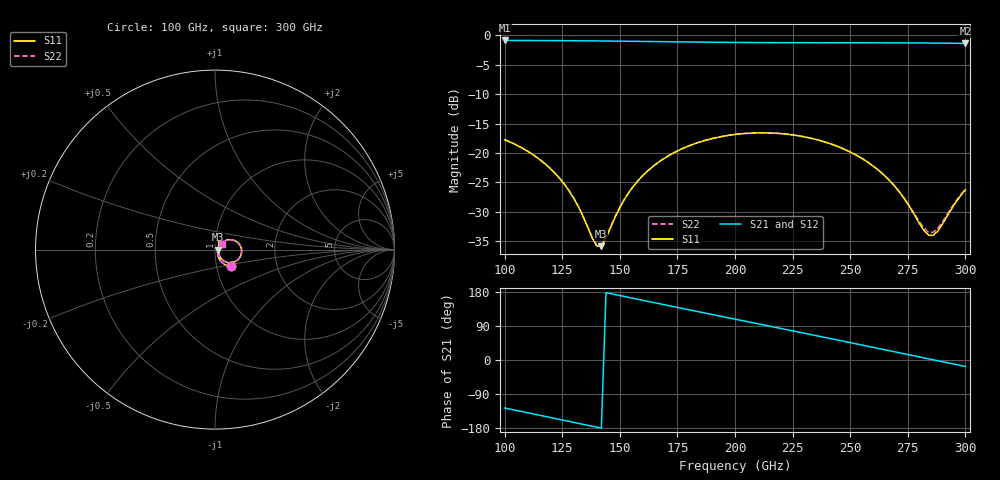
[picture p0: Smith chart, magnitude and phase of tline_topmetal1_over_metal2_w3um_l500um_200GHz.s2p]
#  GHZ S DB R 50
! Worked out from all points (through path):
!   101 points, 100 GHz to 300 GHz, reference 50 ohm
!   highest |S21| = -0.85 dB at 100 GHz (marker M1); lowest = -1.3 dB at 300 GHz (marker M2)
!   group delay of S21, straight-line fit = 3.47 ps
!   lowest |S11| = -35.8 dB at 142 GHz (marker M3), VSWR 1.03, Z = 51.6 + j0.022 ohm
!   |S11| at or under -10 dB: start of sweep to end of sweep
!   |S22| runs from -35.5 to -16.5 dB; largest |S21 - S12| = 1e-14
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100  -17.73 -45.9  -0.85 -126.7  -0.85 -126.7  -17.73 -46.0
110  -19.69 -55.5  -0.85 -139.3  -0.85 -139.3  -19.69 -55.5
120  -22.69 -63.3  -0.87 -151.9  -0.87 -151.9  -22.69 -63.2
128  -26.43 -65.7  -0.89 -162.1  -0.89 -162.1  -26.42 -65.3
134  -30.75 -59.0  -0.90 -169.7  -0.90 -169.7  -30.68 -58.3
140  -35.82 -21.6  -0.92 -177.3  -0.92 -177.3  -35.53 -21.1
142  -35.84 0.8  -0.93 -179.8  -0.93 -179.8  -35.53 0.4
150  -29.28 42.1  -0.96 170.1  -0.96 170.1  -29.18 41.0
154  -26.68 44.9  -0.98 165.1  -0.98 165.1  -26.61 43.9
160  -23.83 43.7  -1.01 157.5  -1.01 157.5  -23.79 42.8
168  -21.24 38.3  -1.05 147.5  -1.05 147.5  -21.21 37.5
184  -18.22 23.2  -1.12 127.6  -1.12 127.6  -18.20 22.6
200  -16.84 6.6  -1.18 107.8  -1.18 107.8  -16.83 6.0
216  -16.60 -10.4  -1.22 88.1  -1.22 88.1  -16.58 -10.9
234  -17.58 -29.2  -1.23 65.8  -1.23 65.8  -17.56 -29.7
254  -20.66 -48.2  -1.24 40.8  -1.24 40.8  -20.64 -48.4
268  -25.06 -55.9  -1.26 23.3  -1.26 23.3  -25.01 -55.7
282  -33.17 -28.8  -1.28 5.7  -1.28 5.7  -32.78 -28.0
284  -33.96 -15.0  -1.29 3.1  -1.29 3.1  -33.48 -14.8
286  -34.01 0.5  -1.29 0.6  -1.29 0.6  -33.50 -0.3
288  -33.29 14.5  -1.30 -1.9  -1.30 -1.9  -32.83 12.9
300  -26.23 42.6  -1.34 -16.9  -1.34 -16.9  -26.10 40.6
